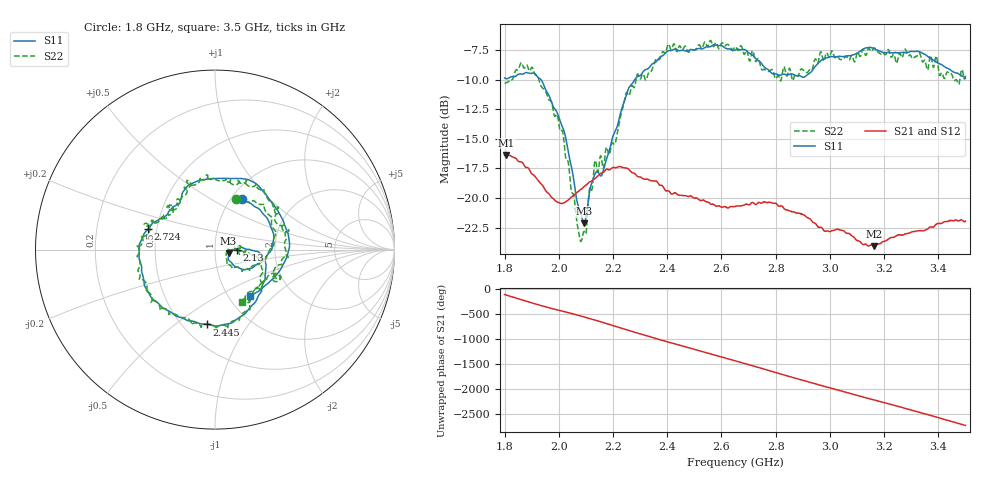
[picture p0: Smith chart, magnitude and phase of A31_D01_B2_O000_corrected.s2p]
! Created with skrf 1.9.0 (http://scikit-rf.org).
# Hz S RI R 50.0
!freq ReS11 ImS11 ReS21 ImS21 ReS12 ImS12 ReS22 ImS22
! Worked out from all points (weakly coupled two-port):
!   1601 points, 1.8 GHz to 3.5 GHz, reference 50 ohm
!   highest |S21| = -16.37 dB at 1.805 GHz (marker M1); lowest = -24.1 dB at 3.162 GHz (marker M2)
!   lowest |S11| = -22.1 dB at 2.093 GHz (marker M3), VSWR 1.17, Z = 58.1 - j2.49 ohm
!   |S11| at or under -10 dB: 1.934 GHz to 2.28 GHz (345.6 MHz wide, 16.4 % of centre)
!   |S22| runs from -23.7 to -6.7 dB; largest |S21 - S12| = 0.0029
!   S11 on the Smith chart (normalised r, x): 1.8 GHz: 1.12, +0.71; 2.13 GHz: 1.28, -0.00; 2.445 GHz: 0.65, -0.66; 2.724 GHz: 0.45, +0.12; 3.5 GHz: 1.25, -0.71
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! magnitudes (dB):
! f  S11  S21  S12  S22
! 1.8 GHz  -9.9  -16.4  -16.4  -10.3
! 1.805 GHz  -9.9  -16.4  -16.4  -10.2
! 1.88 GHz  -9.4  -17.4  -17.4  -8.8
! 1.969 GHz  -11.6  -19.8  -19.8  -11.8
! 2.014 GHz  -14.0  -20.4  -20.4  -14.3
! 2.084 GHz  -21.5  -19.2  -19.2  -23.6
! 2.093 GHz  -22.1  -19.0  -19.1  -22.8
! 2.13 GHz  -18.1  -18.4  -18.4  -17.3
! 2.16 GHz  -18.0  -17.9  -17.8  -17.1
! 2.208 GHz  -14.3  -17.4  -17.4  -15.4
! 2.26 GHz  -10.6  -17.6  -17.6  -11.3
! 2.367 GHz  -8.2  -18.8  -18.7  -8.3
! 2.445 GHz  -7.6  -19.8  -19.8  -7.1
! 2.65 GHz  -7.5  -20.7  -20.7  -7.2
! 2.724 GHz  -8.2  -20.5  -20.5  -8.4
! 2.813 GHz  -9.6  -20.7  -20.6  -9.8
! 2.934 GHz  -9.3  -21.9  -21.9  -9.2
! 2.966 GHz  -8.4  -22.5  -22.5  -7.6
! 3.162 GHz  -7.4  -24.1  -24.0  -7.3
! 3.217 GHz  -7.7  -23.4  -23.4  -7.5
! 3.331 GHz  -7.6  -22.8  -22.8  -7.8
! 3.5 GHz  -9.9  -22.0  -22.0  -9.7
